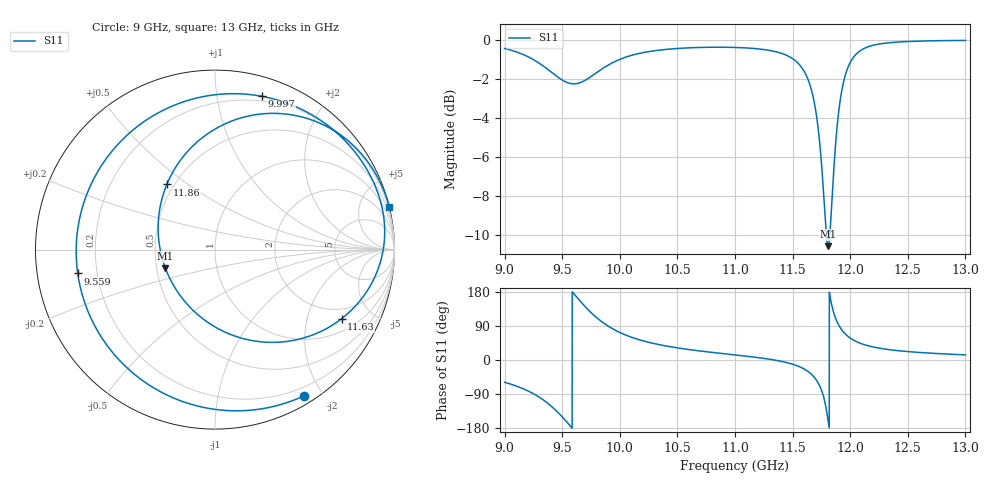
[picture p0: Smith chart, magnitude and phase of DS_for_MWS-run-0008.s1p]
! TOUCHSTONE file generated by CST DESIGN STUDIO
! Date and time: Tue Feb  4 14:18:31 2025
! Project name: C:\Work\MatlabApps\UnitCellOptimizationMatlab\CST\unitcell.cst
! Tree item: Tasks\Sweep1\SPara1\S-Parameters
! Header version: 2024
! Port assignment regex: !\s*Touchstone port\s*([0-9]+)\s*=\s*(CST MWS port|CST DES external port|CST DES block port)\s*(.+)\s* \(\"(.*)\"\)(\s*mode\s*([0-9]+))?.*
! Touchstone port assignment:
! Touchstone port 1 = CST DES external port 1 ("")
# GHz S MA R 50
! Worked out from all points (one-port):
!   4001 points, 9 GHz to 13 GHz, reference 50 ohm
!   lowest |S11| = -10.6 dB at 11.81 GHz (marker M1), VSWR 1.84, Z = 27.8 - j6.33 ohm
!   |S11| at or under -10 dB: 11.79272 GHz to 11.82305 GHz (30.33 MHz wide, 0.257 % of centre)
!   S11 on the Smith chart (normalised r, x): 9 GHz: 0.10, -1.77; 9.559 GHz: 0.13, -0.08; 9.997 GHz: 0.16, +1.34; 11.63 GHz: 1.51, -3.28; 11.86 GHz: 0.46, +0.42; 13 GHz: 0.00, +8.40
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9  0.9533 -58.8
9.152  0.9223 -74.7
9.303  0.8724 -98.6
9.404  0.8293 -121.6
9.5  0.7908 -150.0
9.559  0.7763 -170.1
9.654  0.7781 156.1
9.772  0.8156 118.9
9.872  0.8543 94.8
9.997  0.893 73.1
10  0.8937 72.6
10.214  0.9318 49.6
10.5  0.9534 32.0
11  0.9593 13.4
11.5  0.8976 -11.1
11.626  0.8037 -28.6
11.684  0.7021 -44.2
11.737  0.5377 -69.4
11.772  0.3903 -100.3
11.808  0.2951 -159.4
11.855  0.4517 126.5
11.885  0.5941 101.5
11.916  0.7103 84.3
12  0.8773 57.9
12.075  0.935 45.7
12.172  0.9667 36.3
12.5  0.9935 22.2
13  0.9999 13.6
